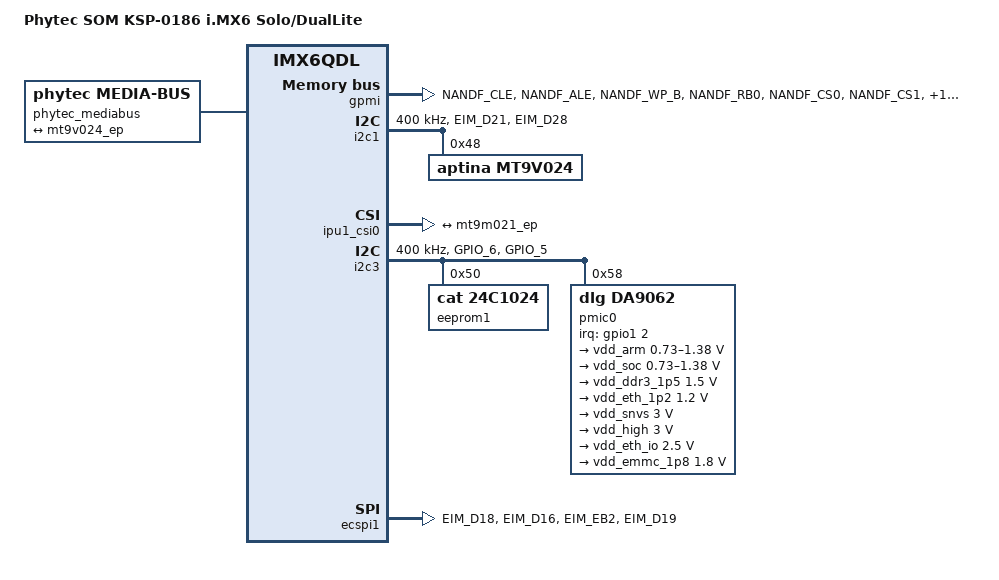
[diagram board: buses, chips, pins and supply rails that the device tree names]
/*
 * Copyright (C) 2015 PHYTEC Messtechnik GmbH,
 * Author: Stefan Christ <s.christ@phytec.de>
 *
 * The code contained herein is licensed under the GNU General Public
 * License. You may obtain a copy of the GNU General Public License
 * Version 2 or later at the following locations:
 *
 * http://www.opensource.org/licenses/gpl-license.html
 * http://www.gnu.org/copyleft/gpl.html
 */

#include "imx6qdl.dtsi"
#include "imx6dl.dtsi"
#include <dt-bindings/gpio/gpio.h>

/ {
	model = "Phytec SOM KSP-0186 i.MX6 Solo/DualLite";

	memory {
		reg = <0x0 0x0>; /* will be filled by bootloader */
	};

	aliases {
		ipu0 = &ipu1;
	};

	phytec_mediabus: phytec_mediabus {
		compatible = "phytec,media-bus";
		pinctrl-names = "default";
		pinctrl-0 = <&pinctrl_cam0data>,
				<&pinctrl_cam0clk>;

		#gpio-cells = <3>;
		#clock-cells = <1>;

		assigned-clocks =
		<&clks IMX6QDL_CLK_CKO1_SEL>,
		<&clks IMX6QDL_CLK_CKO>,
		<&clks IMX6QDL_CLK_PLL4_AUDIO_DIV>;

		assigned-clock-parents =
		<&clks IMX6QDL_CLK_PLL4_AUDIO_DIV>,
		<&clks IMX6QDL_CLK_CKO1>;

		assigned-clock-rates = <0>, <0>, <216000000>;

		clocks = <&clks IMX6QDL_CLK_CKO1>;
		clock-names = "camera0-clk";

		clock-output-names = "camera0-clk";

		color_shifter: sensor@0 {
			compatible = "phytec,color-shifter";

			phytec,shift = <2>;

			ports {
				#address-cells = <1>;
				#size-cells = <0>;

				port@0 {
					reg = <0>;
					cshift0_sink_ep0: endpoint {
						phytec,role = "sink";
						/* MEDIA_BUS_FMT_SGRBG10_1X10 */
						phytec,default-mbus-code = <0x300a>;
						remote-endpoint = <&mt9v024_ep>;
					};
				};

				port@1 {
					reg = <1>;
					cshift0_source_ep1: endpoint {
						phytec,role = "source";
					};
				};
			};
		};
	};
};

&cpu0 {
	fsl,tol = <5000>;
	arm-supply = <&vdd_arm>;
	soc-supply = <&vdd_soc>;
};

&gpmi {
	pinctrl-names = "default";
	pinctrl-0 = <&pinctrl_gpmi_nand>;
	nand-on-flash-bbt;
	status = "okay";
	#address-cells = <1>;
	#size-cells = <1>;

	partition@0 {
		label = "barebox";
		reg = <0x0 0x400000>;
	};

	partition@1 {
		label = "barebox-env0";
		reg = <0x400000 0x100000>;
	};

	partition@2 {
		label = "barebox-env1";
		reg = <0x500000 0x100000>;
	};


	partition@3 {
		label = "rescue";
		reg = <0x600000 0x1000000>;
	};

	partition@4 {
		label = "ubi";
		reg = <0x1600000 0x0>;
	};
};

&i2c1 {
	pinctrl-names = "default";
	pinctrl-0 = <&pinctrl_i2c1>;
	clock-frequency = <400000>;
	status = "okay";

	mt9v024: mt9v024@48 {
		compatible = "aptina,mt9v024";
		reg = <0x48>;

		clocks = <&phytec_mediabus 0>;

		port {
			mt9v024_ep: endpoint {
				link-frequencies = /bits/ 64
					<27000000>;
				pclk-sample = <1>;
			};
		};
	};
};

&ipu1_csi0 {
	#address-cells = <1>;
	#size-cells = <0>;

	/* Parallel bus */
	csi0_ep: endpoint {
		bus-width = <8>; /* is this correct */
		remote-endpoint = <&mt9m021_ep>;
	};
};

&i2c3 {
	pinctrl-names = "default";
	pinctrl-0 = <&pinctrl_i2c3>;
	clock-frequency = <400000>;
	status = "okay";

	eeprom1: eeprom@50 {
		compatible = "cat,24c1024"; /* chip is AT24CM01 (131072 Bytes, 1MBit) */
		reg = <0x50>;
		pagesize = <0x100>;
	};

	pmic0: da9062@58 {
		compatible = "dlg,da9062";
		reg = <0x58>;
		interrupt-parent = <&gpio1>;
		interrupts = <2 IRQ_TYPE_LEVEL_LOW>;
		interrupt-controller;

		rtc {
			compatible = "dlg,da9062-rtc";
		};

		watchdog {
			compatible = "dlg,da9062-watchdog";
		};
		regulators {
			vdd_arm: buck1 {
				regulator-name = "vdd_arm";
				regulator-min-microvolt = <730000>;
				regulator-max-microvolt = <1380000>;
				regulator-always-on;
			};

			vdd_soc: buck2 {
				regulator-name = "vdd_soc";
				regulator-min-microvolt = <730000>;
				regulator-max-microvolt = <1380000>;
				regulator-always-on;
			};

			vdd_ddr3_1p5: buck3 {
				regulator-name = "vdd_ddr3";
				regulator-min-microvolt = <1500000>;
				regulator-max-microvolt = <1500000>;
				regulator-always-on;
			};

			vdd_eth_1p2: buck4 {
				regulator-name = "vdd_eth";
				regulator-min-microvolt = <1200000>;
				regulator-max-microvolt = <1200000>;
				regulator-always-on;
			};

			vdd_snvs: ldo1 {
				regulator-name = "vdd_snvs";
				regulator-min-microvolt = <3000000>;
				regulator-max-microvolt = <3000000>;
				regulator-always-on;
			};

			vdd_high: ldo2 {
				regulator-name = "vdd_high";
				regulator-min-microvolt = <3000000>;
				regulator-max-microvolt = <3000000>;
				regulator-always-on;
			};

			vdd_eth_io: ldo3 {
				regulator-name = "vdd_eth_io";
				regulator-min-microvolt = <2500000>;
				regulator-max-microvolt = <2500000>;
			};

			vdd_emmc_1p8: ldo4 {
				regulator-name = "vdd_emmc";
				regulator-min-microvolt = <1800000>;
				regulator-max-microvolt = <1800000>;
			};
		};
	};
};

&iomuxc {
	pinctrl-names = "default";
	pinctrl-0 = <&pinctrl_hog>;

	imx6dl-phytec-ksp-0186-som {
		pinctrl_imager_ctrl: imager-ctrl {
			fsl,pins = <
				MX6QDL_PAD_EIM_DA0__GPIO3_IO00          0xc0000000 /* OE Imager levelshifter */
			>;
		};

		pinctrl_imager_sensor: imager-sensor {
			fsl,pins = <
				MX6QDL_PAD_EIM_DA9__GPIO3_IO09          0x4001b080 /* FLASH */
				/* WARNING: STANDBY with 2V8 voltage domain is connected
				   directly to CPU; drive it as Open-Drain */
				MX6QDL_PAD_EIM_DA10__GPIO3_IO10         0X4001A8B0 /* STANDBY */
				MX6QDL_PAD_EIM_DA12__GPIO3_IO12         0x4001B0B0 /* TRIGGER */
				MX6QDL_PAD_EIM_DA13__GPIO3_IO13         0x4001B0B0 /* nOE */
				MX6QDL_PAD_EIM_DA15__GPIO3_IO15         0x4001B0B0 /* nRESET */
			>;
		};

		pinctrl_hog: hoggrp {
			fsl,pins = <
                                MX6QDL_PAD_GPIO_4__GPIO1_IO04	        0xc0000000 /* Good Read LED */

				MX6QDL_PAD_EIM_EB1__GPIO2_IO29          0xc0000000 /* OE LEDs */

				MX6QDL_PAD_EIM_A18__GPIO2_IO20          0xc0000000 /* Aimer */

				MX6QDL_PAD_EIM_A20__GPIO2_IO18          0xc0000000 /* RS232/422 selection */

				MX6QDL_PAD_EIM_DA3__GPIO3_IO03          0xc0000000 /* Heating */

				MX6QDL_PAD_EIM_DA11__GPIO3_IO11         0xc0000000 /* Button Select */
				MX6QDL_PAD_EIM_DA7__GPIO3_IO07          0xc0000000 /* Button Enter */

				MX6QDL_PAD_EIM_A23__GPIO6_IO06          0xc0000000 /* SWI Trigger */
				MX6QDL_PAD_EIM_A21__GPIO2_IO17          0xc0000000 /* SWO Result */

				MX6QDL_PAD_EIM_A16__GPIO2_IO22          0xc0000000 /* SWI 3 */
				MX6QDL_PAD_EIM_A17__GPIO2_IO21          0xc0000000 /* SWO 3 */

				MX6QDL_PAD_EIM_A19__GPIO2_IO19          0xc0000000 /* SWI 4 */
				MX6QDL_PAD_EIM_A24__GPIO5_IO04          0xc0000000 /* SWO 4 */

				MX6QDL_PAD_EIM_DA1__GPIO3_IO01          0xc0000000 /* Illumination Q1 */
				MX6QDL_PAD_EIM_RW__GPIO2_IO26           0xc0000000 /* Illumination Q2 */
				MX6QDL_PAD_EIM_EB0__GPIO2_IO28          0xc0000000 /* Illumination Q3 */
				MX6QDL_PAD_EIM_LBA__GPIO2_IO27          0xc0000000 /* Illumination Q4 */

				MX6QDL_PAD_EIM_A22__GPIO2_IO16          0xc0000000 /* Reserve 1 */
				MX6QDL_PAD_EIM_EB3__GPIO2_IO31          0xc0000000 /* Reserve 2 */

				MX6QDL_PAD_EIM_DA8__GPIO3_IO08          0xc0000000 /* Reserve Imager 1 */
				MX6QDL_PAD_EIM_DA5__GPIO3_IO05          0xc0000000 /* Reserve Imager 2 */
				MX6QDL_PAD_EIM_DA4__GPIO3_IO04          0xc0000000 /* Reserve Imager 3 */
				MX6QDL_PAD_EIM_DA2__GPIO3_IO02          0xc0000000 /* Reserve Imager 4 */
				MX6QDL_PAD_EIM_DA6__GPIO3_IO06          0xc0000000 /* Reserve Imager 6 */
				MX6QDL_PAD_EIM_DA14__GPIO3_IO14         0xc0000000 /* Reserve Imager 7 */
				MX6QDL_PAD_EIM_WAIT__GPIO5_IO00         0xc0000000 /* Reserve Imager 8 */
			>;
		};

		pinctrl_ecspi1: ecspi1grp {
			fsl,pins = <
				MX6QDL_PAD_EIM_D18__ECSPI1_MOSI         0x100b1
				MX6QDL_PAD_EIM_D16__ECSPI1_SCLK         0x100b1
				MX6QDL_PAD_EIM_EB2__GPIO2_IO30		0x80000000
				MX6QDL_PAD_EIM_D19__GPIO3_IO19          0x80000000
			>;
		};

		pinctrl_enet: enetgrp {
			fsl,pins = <
				MX6QDL_PAD_ENET_MDC__ENET_MDC           0x1b0b0
				MX6QDL_PAD_ENET_MDIO__ENET_MDIO         0x1b0b0
				MX6QDL_PAD_ENET_RXD0__ENET_RX_DATA0     0x1b0b0
				MX6QDL_PAD_ENET_RXD1__ENET_RX_DATA1     0x1b0b0
				MX6QDL_PAD_ENET_RX_ER__ENET_RX_ER       0x1b0b0
				MX6QDL_PAD_ENET_TX_EN__ENET_TX_EN       0x1b0b0
				MX6QDL_PAD_ENET_TXD0__ENET_TX_DATA0     0x1b0b0
				MX6QDL_PAD_ENET_TXD1__ENET_TX_DATA1     0x1b0b0
				MX6QDL_PAD_ENET_CRS_DV__ENET_RX_EN      0x1b0b0
				MX6QDL_PAD_ENET_REF_CLK__ENET_TX_CLK    0x1b0b0
				MX6QDL_PAD_KEY_COL0__ENET_RX_DATA3      0x1b0b0
				MX6QDL_PAD_KEY_ROW0__ENET_TX_DATA3      0x1b0b0
				MX6QDL_PAD_KEY_ROW1__ENET_COL           0x1b0b0
				MX6QDL_PAD_KEY_COL2__ENET_RX_DATA2      0x1b0b0
				MX6QDL_PAD_KEY_ROW2__ENET_TX_DATA2      0x1b0b0
				MX6QDL_PAD_KEY_COL3__ENET_CRS           0x1b0b0
				MX6QDL_PAD_GPIO_18__ENET_RX_CLK         0x1b0b0
				MX6QDL_PAD_GPIO_19__ENET_TX_ER          0x1b0b0
			>;
		};

		pinctrl_gpmi_nand: gpmigrp {
			fsl,pins = <
				MX6QDL_PAD_NANDF_CLE__NAND_CLE          0xb0b1
				MX6QDL_PAD_NANDF_ALE__NAND_ALE          0xb0b1
				MX6QDL_PAD_NANDF_WP_B__NAND_WP_B        0xb0b1
				MX6QDL_PAD_NANDF_RB0__NAND_READY_B      0xb000
				MX6QDL_PAD_NANDF_CS0__NAND_CE0_B        0xb0b1
				MX6QDL_PAD_NANDF_CS1__NAND_CE1_B        0xb0b1
				MX6QDL_PAD_NANDF_CS2__NAND_CE2_B        0xb0b1
				MX6QDL_PAD_NANDF_CS3__NAND_CE3_B        0xb0b1
				MX6QDL_PAD_SD4_CMD__NAND_RE_B           0xb0b1
				MX6QDL_PAD_SD4_CLK__NAND_WE_B           0xb0b1
				MX6QDL_PAD_NANDF_D0__NAND_DATA00        0xb0b1
				MX6QDL_PAD_NANDF_D1__NAND_DATA01        0xb0b1
				MX6QDL_PAD_NANDF_D2__NAND_DATA02        0xb0b1
				MX6QDL_PAD_NANDF_D3__NAND_DATA03        0xb0b1
				MX6QDL_PAD_NANDF_D4__NAND_DATA04        0xb0b1
				MX6QDL_PAD_NANDF_D5__NAND_DATA05        0xb0b1
				MX6QDL_PAD_NANDF_D6__NAND_DATA06        0xb0b1
				MX6QDL_PAD_NANDF_D7__NAND_DATA07        0xb0b1
				MX6QDL_PAD_SD4_DAT0__NAND_DQS           0x00b1
			>;
		};

		pinctrl_i2c1: i2c1grp {
			fsl,pins = <
				MX6QDL_PAD_EIM_D21__I2C1_SCL            0x4001b8b1
				MX6QDL_PAD_EIM_D28__I2C1_SDA            0x4001b8b1
			>;
		};

		pinctrl_i2c3: i2c3grp {
			fsl,pins = <
				MX6QDL_PAD_GPIO_6__I2C3_SDA             0x4001b8b1
				MX6QDL_PAD_GPIO_5__I2C3_SCL             0x4001b8b1
			>;
		};

		pinctrl_uart2: uart2grp {
			fsl,pins = <
				MX6QDL_PAD_EIM_D26__UART2_TX_DATA       0x1b0b1
				MX6QDL_PAD_EIM_D27__UART2_RX_DATA       0x1b0b1
			>;
		};

		pinctrl_uart3: uart3grp {
			fsl,pins = <
				MX6QDL_PAD_EIM_D24__UART3_TX_DATA       0x1b0b1
				MX6QDL_PAD_EIM_D25__UART3_RX_DATA       0x1b0b1
			>;
		};

		pinctrl_cam0data: cam0datagrp {
			fsl,pins = <
				/* pull down unused camera signals */
				MX6QDL_PAD_CSI0_DAT4__IPU1_CSI0_DATA04  0x000130B0
				MX6QDL_PAD_CSI0_DAT5__IPU1_CSI0_DATA05  0x000130B0
				MX6QDL_PAD_CSI0_DAT6__IPU1_CSI0_DATA06  0x000130B0
				MX6QDL_PAD_CSI0_DAT7__IPU1_CSI0_DATA07  0x000130B0
				MX6QDL_PAD_CSI0_DAT8__IPU1_CSI0_DATA08  0x000130B0
				MX6QDL_PAD_CSI0_DAT9__IPU1_CSI0_DATA09  0x000130B0

				MX6QDL_PAD_CSI0_DAT10__IPU1_CSI0_DATA10 0x0001B0B0
				MX6QDL_PAD_CSI0_DAT11__IPU1_CSI0_DATA11 0x0001B0B0
				MX6QDL_PAD_CSI0_DAT12__IPU1_CSI0_DATA12 0x0001B0B0
				MX6QDL_PAD_CSI0_DAT13__IPU1_CSI0_DATA13 0x0001B0B0
				MX6QDL_PAD_CSI0_DAT14__IPU1_CSI0_DATA14 0x0001B0B0
				MX6QDL_PAD_CSI0_DAT15__IPU1_CSI0_DATA15 0x0001B0B0
				MX6QDL_PAD_CSI0_DAT16__IPU1_CSI0_DATA16 0x0001B0B0
				MX6QDL_PAD_CSI0_DAT17__IPU1_CSI0_DATA17 0x0001B0B0
				MX6QDL_PAD_CSI0_DAT18__IPU1_CSI0_DATA18 0x0001B0B0
				MX6QDL_PAD_CSI0_DAT19__IPU1_CSI0_DATA19 0x0001B0B0
				MX6QDL_PAD_CSI0_MCLK__IPU1_CSI0_HSYNC   0x0001B0B0
				MX6QDL_PAD_CSI0_PIXCLK__IPU1_CSI0_PIXCLK 0x4001B0B0
				MX6QDL_PAD_CSI0_VSYNC__IPU1_CSI0_VSYNC  0x0001B0B0
			>;
		};

		pinctrl_cam0clk: cam0clkgrp {
			fsl,pins = <MX6QDL_PAD_GPIO_0__CCM_CLKO1        0x000000B9>;
		};
	};
};

&ecspi1 {
	pinctrl-names = "default";
	pinctrl-0 = <&pinctrl_ecspi1>;
	status = "okay";
	fsl,spi-num-chipselects = <2>;
	cs-gpios = <&gpio2 30 0
		&gpio3 19 0>;
	#address-cells = <1>;
	#size-cells = <0>;
};

&uart2 {
	pinctrl-names = "default";
	pinctrl-0 = <&pinctrl_uart2>;
	status = "disabled";
};

&uart3 {
	pinctrl-names = "default";
	pinctrl-0 = <&pinctrl_uart3>;
	status = "disabled";
};

&fec {
	pinctrl-names = "default";
	pinctrl-0 = <&pinctrl_enet>;
	phy-mode = "mii";
	status = "disabled";
	phy-supply = <&vdd_eth_io>;
};

&reg_arm {
	regulator-allow-bypass;
};

&reg_pu {
	regulator-allow-bypass;
};

&reg_soc {
	regulator-allow-bypass;
};
